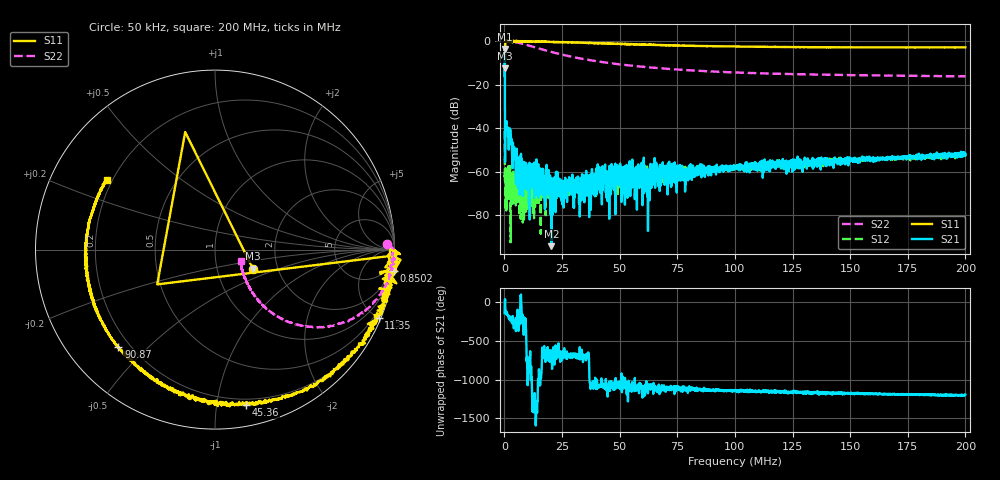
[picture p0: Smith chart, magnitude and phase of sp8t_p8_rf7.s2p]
! 26-Feb-26 1:15:28 PM
! E:\VNA_MEASUREMENTS\SP8T\SP8T_P8_RF7.S2P
! CHANNEL.1
! TR.MEASUREMENT
! CORRECTED.DATA
# GHZ S RI R 50.0
! FREQ.GHZ  S11RE  S11IM  S21RE  S21IM  S12RE  S12IM  S22RE  S22IM
!; PortSelection: Port_12
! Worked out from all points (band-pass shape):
!   2000 points, 50 kHz to 200 MHz, reference 50 ohm
!   highest |S21| = -3.64 dB at 150 kHz (marker M1); lowest = -94.1 dB at 20.36 MHz (marker M2)
!   |S21| within 3 dB of the highest: 125.7 kHz to 155.8 kHz (30.14 kHz wide, 21.4 % of centre)
!   lowest |S11| = -12.5 dB at 50 kHz (marker M3), VSWR 1.62, Z = 74.5 - j16.9 ohm
!   |S11| at or under -10 dB: start of sweep to 77.53 kHz
!   |S22| runs from -16.2 to 0.0 dB; largest |S21 - S12| = 0.66
!   S11 on the Smith chart (normalised r, x): 50 kHz: 1.49, -0.34; 850.2 kHz: -1, -17; 11.35 MHz: 0.13, -4.96; 45.36 MHz: 0.15, -1.21; 90.87 MHz: 0.16, -0.41; 200 MHz: 0.18, +0.28
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5e-05  0.2115 -0.1071  -0.1251 -0.0982  0.00645 -0.00576  0.9607 0.0331
0.000150025  -0.166 0.6549  0.6515 -0.0894  0.000465 -0.000408  1.002 -0.00154
0.0008502  0.9973 -0.1189  -0.0119 -0.00845  -0.000419 0.00119  0.9888 -0.0523
0.001350325  1.021 -0.0732  -0.00916 -0.00228  0.0011 0.000277  0.9807 -0.0863
0.005551376  0.9839 -0.1992  -0.00113 0.000433  -0.000162 0.000102  0.8736 -0.3018
0.01135283  0.9131 -0.3832  -0.000246 -0.000652  -0.000331 -6.34e-05  0.6397 -0.4252
0.01675418  0.83 -0.5051  0.00044 2.33e-05  0.000113 0.000236  0.4736 -0.4211
0.0188547  0.7896 -0.5552  0.000549 -0.000313  0.000205 0.000246  0.4297 -0.4097
0.02035508  0.7556 -0.5895  4.9e-06 1.91e-05  0.00022 0.000359  0.3987 -0.3991
0.0224556  0.7033 -0.647  0.000245 -6.39e-05  0.000182 0.000318  0.3623 -0.3817
0.02575643  0.6434 -0.7063  0.000488 0.000268  0.000338 0.000206  0.3194 -0.3537
0.03345835  0.4522 -0.796  0.000739 -6.4e-05  0.000425 0.000137  0.2577 -0.3003
0.04096023  0.2737 -0.8523  0.00063 1.32e-05  0.000578 -4.85e-05  0.221 -0.2576
0.04536133  0.1742 -0.8675  0.000713 -0.000448  0.000751 6.33e-05  0.2067 -0.2368
0.05986496  -0.1322 -0.8225  -0.000155 -7.36e-05  0.000721 -0.000601  0.178 -0.1855
0.06196548  -0.171 -0.8033  0.000189 -0.000194  0.000856 -0.000368  0.1769 -0.1799
0.06676668  -0.2541 -0.7748  0.000751 -0.000321  0.000825 -0.000362  0.1713 -0.1684
0.09087271  -0.5384 -0.5416  0.000509 -0.000852  0.000672 -0.00104  0.1551 -0.126
0.100075  -0.609 -0.4484  0.000563 -0.00107  0.000562 -0.00103  0.1525 -0.1159
0.1333833  -0.717 -0.1129  -0.000431 -0.00135  -5.95e-05 -0.00189  0.1464 -0.0892
0.1666917  -0.6967 0.1667  -0.000716 -0.00187  -0.000687 -0.00188  0.1443 -0.0739
0.2  -0.6039 0.3863  -0.00109 -0.00224  -0.00137 -0.00202  0.143 -0.0622
